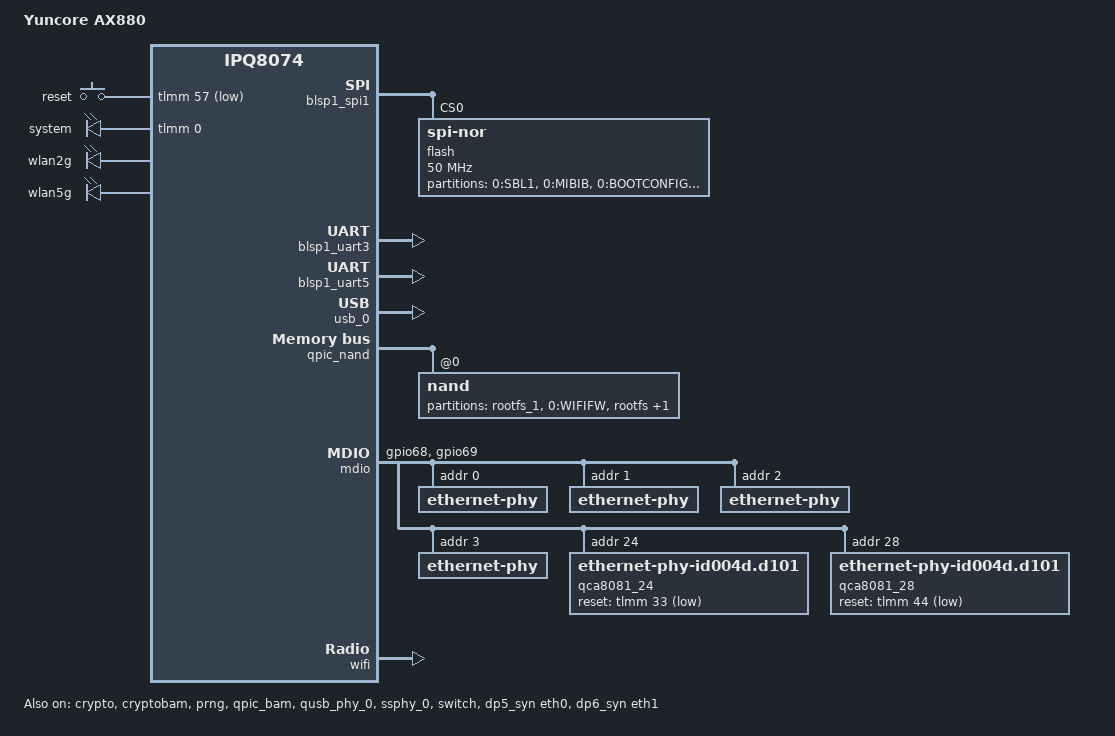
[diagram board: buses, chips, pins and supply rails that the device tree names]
// SPDX-License-Identifier: MIT
/* Copyright (c) 2023, Ruslan Isaev <legale.legale@gmail.com> */

/dts-v1/;

#include "ipq8074.dtsi"
#include "ipq8074-hk-cpu.dtsi"
#include "ipq8074-ess.dtsi"
#include <dt-bindings/gpio/gpio.h>
#include <dt-bindings/input/input.h>

/ {
	model = "Yuncore AX880";
	compatible = "yuncore,ax880", "qcom,ipq8074";

	aliases {
		serial0 = &blsp1_uart5;
		serial1 = &blsp1_uart3;
		led-boot = &led_system;
		led-failsafe = &led_system;
		led-running = &led_system;
		led-upgrade = &led_system;
		/* Aliases as required by u-boot to patch MAC addresses */
		ethernet0 = &dp5_syn;
		ethernet1 = &dp6_syn;
		label-mac-device = &dp5_syn;
	};

	chosen {
		stdout-path = "serial0:115200n8";
        bootargs-append = " root=/dev/ubiblock0_1";
	};

	keys {
		compatible = "gpio-keys";
		pinctrl-0 = <&button_pins>;
		pinctrl-names = "default";

		reset {
			label = "reset";
			gpios = <&tlmm 57 GPIO_ACTIVE_LOW>;
			linux,code = <KEY_RESTART>;
		};
	};

	leds {
		compatible = "gpio-leds";

		led_system: system {
			label = "system";
			gpios = <&tlmm 0 GPIO_ACTIVE_HIGH>;
		};

		wlan2g {
			label = "wlan2g";
			gpio = <&tlmm 2 GPIO_ACTIVE_HIGH>;
		};

		wlan5g {
			label = "wlan5g";
			gpio = <&tlmm 9 GPIO_ACTIVE_HIGH>;
		};
	};
};

&tlmm {
	mdio_pins: mdio-pins {
		mdc {
			pins = "gpio68";
			function = "mdc";
			drive-strength = <8>;
			bias-pull-up;
		};

		mdio {
			pins = "gpio69";
			function = "mdio";
			drive-strength = <8>;
			bias-pull-up;
		};
	};

	button_pins: button_pins {
		reset_button {
			pins = "gpio57";
			function = "gpio";
			drive-strength = <8>;
			bias-pull-up;
		};
	};
};

&blsp1_spi1 {
	status = "okay";

	flash@0 {
		#address-cells = <1>;
		#size-cells = <1>;
		reg = <0>;
		compatible = "jedec,spi-nor";
		spi-max-frequency = <50000000>;

		partitions {
			compatible = "fixed-partitions";
			#address-cells = <1>;
			#size-cells = <1>;

			partition@0 {
				label = "0:SBL1";
				reg = <0x0 0x50000>;
				read-only;
			};

			partition@50000 {
				label = "0:MIBIB";
				reg = <0x50000 0x10000>;
				read-only;
			};

			partition@60000 {
				label = "0:BOOTCONFIG";
				reg = <0x60000 0x20000>;
				read-only;
			};

			partition@80000 {
				label = "0:BOOTCONFIG1";
				reg = <0x80000 0x20000>;
				read-only;
			};

			partition@a0000 {
				label = "0:QSEE_1";
				reg = <0xa0000 0x180000>;
				read-only;
			};

			partition@220000 {
				label = "0:QSEE";
				reg = <0x220000 0x180000>;
				read-only;
			};

			partition@3a0000 {
				label = "0:DEVCFG";
				reg = <0x3a0000 0x10000>;
				read-only;
			};

			partition@3b0000 {
				label = "0:DEVCFG_1";
				reg = <0x3b0000 0x10000>;
				read-only;
			};

			partition@3c0000 {
				label = "0:APDP";
				reg = <0x3c0000 0x10000>;
				read-only;
			};

			partition@3d0000 {
				label = "0:APDP_1";
				reg = <0x3d0000 0x10000>;
				read-only;
			};

			partition@3e0000 {
				label = "0:RPM_1";
				reg = <0x3e0000 0x40000>;
				read-only;
			};

			partition@420000 {
				label = "0:RPM";
				reg = <0x420000 0x40000>;
				read-only;
			};

			partition@460000 {
				label = "0:CDT_1";
				reg = <0x460000 0x10000>;
				read-only;
			};

			partition@470000 {
				label = "0:CDT";
				reg = <0x470000 0x10000>;
				read-only;
			};

			partition@480000 {
				label = "0:APPSBLENV";
				reg = <0x480000 0x10000>;
			};

			partition@490000 {
				label = "0:APPSBL_1";
				reg = <0x490000 0xa0000>;
				read-only;
			};

			partition@550000 {
				label = "0:APPSBL";
				reg = <0x530000 0xa0000>;
				read-only;
			};

			partition@610000 {
				label = "0:ART";
				reg = <0x5d0000 0x40000>;
				read-only;
			};

			partition@650000 {
				label = "0:ETHPHYFW";
				reg = <0x610000 0x80000>;
				read-only;
			};

		};
	};
};

//serial interface
&blsp1_uart3 {
	status = "okay";
};

&blsp1_uart5 {
	status = "okay";
};

&crypto {
	status = "okay";
};

&cryptobam {
	status = "okay";
};

&prng {
	status = "okay";
};

&qpic_bam {
	status = "okay";
};

&qusb_phy_0 {
	status = "okay";
};

&ssphy_0 {
	status = "okay";
};

&usb_0 {
	status = "okay";
};

&qpic_nand {
	status = "okay";

	nand@0 {
		reg = <0>;
		nand-ecc-strength = <4>;
		nand-ecc-step-size = <512>;
		nand-bus-width = <8>;

		partitions {
			compatible = "fixed-partitions";
			#address-cells = <1>;
			#size-cells = <1>;

			partition@0 {
				label = "rootfs_1";
				reg = <0x0000000 0x3400000>;
			};

			partition@3400000 {
				label = "0:WIFIFW";
				reg = <0x3400000 0x800000>;
				read-only;
			};

			rootfs: partition@3c00000 {
				label = "rootfs";
				reg = <0x3c00000 0x3400000>;
			};

			partition@7000000 {
				label = "0:WIFIFW_1";
				reg = <0x7000000 0x800000>;
				read-only;
			};
		};
	};
};

&mdio {
	status = "okay";

	pinctrl-0 = <&mdio_pins>;
	pinctrl-names = "default";
   
    ethernet-phy@0 {
        reg = <0>;
    };
    ethernet-phy@1 {
        reg = <1>;
    };
    ethernet-phy@2 {
        reg = <2>;
    };
    ethernet-phy@3 {
        reg = <3>;
    };
	qca8081_24: ethernet-phy@24 {
		compatible = "ethernet-phy-id004d.d101";
		reg = <24>;
		reset-gpios = <&tlmm 33 GPIO_ACTIVE_LOW>;
	};

	qca8081_28: ethernet-phy@28 {
		compatible = "ethernet-phy-id004d.d101";
		reg = <28>;
		reset-gpios = <&tlmm 44 GPIO_ACTIVE_LOW>;
	};
};

&switch {
	status = "okay";

	switch_cpu_bmp = <0x1>;  /* cpu port bitmap */
	switch_lan_bmp = <0x3e>; /* lan port bitmap */
	switch_wan_bmp = <0x40>; /* wan port bitmap */
	switch_mac_mode = <0xff>; /* mac mode for uniphy instance0*/
	switch_mac_mode1 = <0xf>; /* mac mode for uniphy instance1*/
	switch_mac_mode2 = <0xf>; /* mac mode for uniphy instance2*/
	bm_tick_mode = <0>; /* bm tick mode */
	tm_tick_mode = <0>; /* tm tick mode */

	qcom,port_phyinfo {
		port@0 {
            phy_address = <0>;
		};
		port@1 {
            phy_address = <1>;
		};
		port@2 {
            phy_address = <2>;
		};
		port@3 {
            phy_address = <3>;
		};
		port@4 {
			port_id = <5>;
			phy_address = <24>;
			port_mac_sel = "QGMAC_PORT";
		};
		port@5 {
			port_id = <6>;
			phy_address = <28>;
			port_mac_sel = "QGMAC_PORT";
		};
	};
};

&edma {
	status = "okay";
};

&dp5_syn {
	status = "okay";
	phy-handle = <&qca8081_24>;
	label = "eth0";
};

&dp6_syn {
	status = "okay";
	phy-handle = <&qca8081_28>;
	label = "eth1";
};

&wifi {
	status = "okay";
    qcom,board_id = <0xff>;
	qcom,ath11k-calibration-variant = "Yuncore-AX880";
};
